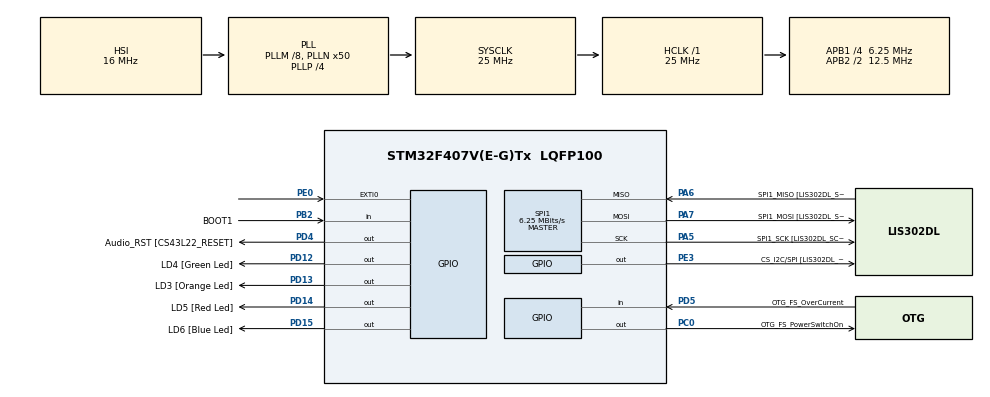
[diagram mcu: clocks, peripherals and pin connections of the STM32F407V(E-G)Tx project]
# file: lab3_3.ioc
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Mcu.Family=STM32F4
Mcu.Name=STM32F407V(E-G)Tx
Mcu.Package=LQFP100
NVIC.EXTI0_IRQn=true\:6\:0\:true\:false\:true\:true\:true
NVIC.PriorityGroup=NVIC_PRIORITYGROUP_4
NVIC.TIM7_IRQn=true\:0\:0\:false\:false\:true\:false\:true
NVIC.TimeBase=TIM7_IRQn
NVIC.TimeBaseIP=TIM7
PA10.GPIO_Label=OTG_FS_ID
PA10.GPIO_Mode=GPIO_MODE_AF_PP
PA10.GPIO_PuPd=GPIO_NOPULL
PA10.GPIO_Speed=GPIO_SPEED_FREQ_LOW
PA10.Signal=USB_OTG_FS_ID
PA11.GPIO_Label=OTG_FS_DM
PA11.GPIO_Mode=GPIO_MODE_AF_PP
PA11.GPIO_PuPd=GPIO_NOPULL
PA11.GPIO_Speed=GPIO_SPEED_FREQ_LOW
PA11.Signal=USB_OTG_FS_DM
PA12.GPIO_Label=OTG_FS_DP
PA12.GPIO_Mode=GPIO_MODE_AF_PP
PA12.GPIO_PuPd=GPIO_NOPULL
PA12.GPIO_Speed=GPIO_SPEED_FREQ_LOW
PA12.Signal=USB_OTG_FS_DP
PA13.GPIO_Label=SWDIO
PA13.Mode=Serial_Wire
PA13.Signal=SYS_JTMS-SWDIO
PA14.GPIO_Label=SWCLK
PA14.Mode=Serial_Wire
PA14.Signal=SYS_JTCK-SWCLK
PA4.GPIO_Label=I2S3_WS [CS43L22_LRCK]
PA4.GPIO_Mode=GPIO_MODE_AF_PP
PA4.GPIO_PuPd=GPIO_NOPULL
PA4.GPIO_Speed=GPIO_SPEED_FREQ_LOW
PA4.Signal=I2S3_WS
PA5.GPIO_Label=SPI1_SCK [LIS302DL_SCL/SPC]
PA5.GPIO_Mode=GPIO_MODE_AF_PP
PA5.GPIO_PuPd=GPIO_NOPULL
PA5.GPIO_Speed=GPIO_SPEED_FREQ_LOW
PA5.Mode=Full_Duplex_Master
PA5.Signal=SPI1_SCK
PA6.GPIO_Label=SPI1_MISO [LIS302DL_SDO]
PA6.GPIO_Mode=GPIO_MODE_AF_PP
PA6.GPIO_PuPd=GPIO_NOPULL
PA6.GPIO_Speed=GPIO_SPEED_FREQ_LOW
PA6.Mode=Full_Duplex_Master
PA6.Signal=SPI1_MISO
PA7.GPIO_Label=SPI1_MOSI [LIS302DL_SDA/SDI/SDO]
PA7.GPIO_Mode=GPIO_MODE_AF_PP
PA7.GPIO_PuPd=GPIO_NOPULL
PA7.GPIO_Speed=GPIO_SPEED_FREQ_LOW
PA7.Mode=Full_Duplex_Master
PA7.Signal=SPI1_MOSI
PA9.GPIO_Label=VBUS_FS
PA9.GPIO_Mode=GPIO_MODE_INPUT
PA9.GPIO_PuPd=GPIO_NOPULL
PA9.Signal=USB_OTG_FS_VBUS
PB10.GPIO_Label=CLK_IN [MP45DT02_CLK]
PB10.GPIO_Mode=GPIO_MODE_AF_PP
PB10.GPIO_PuPd=GPIO_NOPULL
PB10.GPIO_Speed=GPIO_SPEED_FREQ_LOW
PB10.Signal=I2S2_CK
PB2.GPIO_Label=BOOT1
PB2.GPIO_Mode=GPIO_MODE_INPUT
PB2.GPIO_PuPd=GPIO_NOPULL
PB2.Signal=GPIO_Input
PB3.GPIO_Label=SWO
PB3.Signal=SYS_JTDO-SWO
PB6.GPIO_Label=Audio_SCL [CS43L22_SCL]
PB6.GPIO_Mode=GPIO_MODE_AF_OD
PB6.GPIO_PuPd=GPIO_NOPULL
PB6.GPIO_Speed=GPIO_SPEED_FREQ_LOW
PB6.Signal=I2C1_SCL
PB9.GPIO_Label=Audio_SDA [CS43L22_SDA]
PB9.GPIO_Mode=GPIO_MODE_AF_OD
PB9.GPIO_PuPd=GPIO_NOPULL
PB9.GPIO_Speed=GPIO_SPEED_FREQ_LOW
PB9.Signal=I2C1_SDA
PC0.GPIO_Label=OTG_FS_PowerSwitchOn
PC0.GPIO_PuPd=GPIO_NOPULL
PC0.GPIO_Speed=GPIO_SPEED_FREQ_LOW
PC0.PinState=GPIO_PIN_SET
PC0.Signal=GPIO_Output
PC10.GPIO_Label=I2S3_SCK [CS43L22_SCLK]
PC10.GPIO_Mode=GPIO_MODE_AF_PP
PC10.GPIO_PuPd=GPIO_NOPULL
PC10.GPIO_Speed=GPIO_SPEED_FREQ_LOW
PC10.Signal=I2S3_CK
PC12.GPIO_Label=I2S3_SD [CS43L22_SDIN]
PC12.GPIO_Mode=GPIO_MODE_AF_PP
PC12.GPIO_PuPd=GPIO_NOPULL
PC12.GPIO_Speed=GPIO_SPEED_FREQ_LOW
PC12.Signal=I2S3_SD
PC14-OSC32_IN.GPIO_Label=PC14-OSC32_IN
PC14-OSC32_IN.Signal=RCC_OSC32_IN
PC15-OSC32_OUT.GPIO_Label=PC15-OSC32_OUT
PC15-OSC32_OUT.Signal=RCC_OSC32_OUT
PC3.GPIO_Label=PDM_OUT [MP45DT02_DOUT]
PC3.GPIO_Mode=GPIO_MODE_AF_PP
PC3.GPIO_PuPd=GPIO_NOPULL
PC3.GPIO_Speed=GPIO_SPEED_FREQ_LOW
PC3.Signal=I2S2_SD
PC7.GPIO_Label=I2S3_MCK [CS43L22_MCLK]
PC7.GPIO_Mode=GPIO_MODE_AF_PP
PC7.GPIO_PuPd=GPIO_NOPULL
PC7.GPIO_Speed=GPIO_SPEED_FREQ_LOW
PC7.Signal=I2S3_MCK
PD12.GPIO_Label=LD4 [Green Led]
PD12.GPIO_PuPd=GPIO_NOPULL
PD12.GPIO_Speed=GPIO_SPEED_FREQ_LOW
PD12.Signal=GPIO_Output
PD13.GPIO_Label=LD3 [Orange Led]
PD13.GPIO_PuPd=GPIO_NOPULL
PD13.GPIO_Speed=GPIO_SPEED_FREQ_LOW
PD13.Signal=GPIO_Output
PD14.GPIO_Label=LD5 [Red Led]
PD14.GPIO_PuPd=GPIO_NOPULL
PD14.GPIO_Speed=GPIO_SPEED_FREQ_LOW
PD14.Signal=GPIO_Output
PD15.GPIO_Label=LD6 [Blue Led]
PD15.GPIO_PuPd=GPIO_NOPULL
PD15.GPIO_Speed=GPIO_SPEED_FREQ_LOW
PD15.Signal=GPIO_Output
PD4.GPIO_Label=Audio_RST [CS43L22_RESET]
PD4.GPIO_PuPd=GPIO_NOPULL
PD4.GPIO_Speed=GPIO_SPEED_FREQ_LOW
PD4.Signal=GPIO_Output
PD5.GPIO_Label=OTG_FS_OverCurrent
PD5.GPIO_Mode=GPIO_MODE_INPUT
PD5.GPIO_PuPd=GPIO_NOPULL
PD5.Signal=GPIO_Input
PE0.Signal=GPXTI0
PE3.GPIO_Label=CS_I2C/SPI [LIS302DL_CS_I2C/SPI]
PE3.GPIO_PuPd=GPIO_NOPULL
PE3.GPIO_Speed=GPIO_SPEED_FREQ_LOW
PE3.Signal=GPIO_Output
PH0-OSC_IN.GPIO_Label=PH0-OSC_IN
PH0-OSC_IN.Signal=RCC_OSC_IN
PH1-OSC_OUT.GPIO_Label=PH1-OSC_OUT
PH1-OSC_OUT.Signal=RCC_OSC_OUT
ProjectManager.HeapSize=0x200
ProjectManager.StackSize=0x400
ProjectManager.TargetToolchain=STM32CubeIDE
RCC.48MHZClocksFreq_Value=14285714.285714285
RCC.AHBFreq_Value=25000000
RCC.APB1CLKDivider=RCC_HCLK_DIV4
RCC.APB1Freq_Value=6250000
RCC.APB1TimFreq_Value=12500000
RCC.APB2CLKDivider=RCC_HCLK_DIV2
RCC.APB2Freq_Value=12500000
RCC.APB2TimFreq_Value=25000000
RCC.CortexFreq_Value=25000000
RCC.HCLKFreq_Value=25000000
RCC.HSE_VALUE=8000000
RCC.HSI_VALUE=16000000
RCC.LSE_VALUE=32768
RCC.PLLM=8
RCC.PLLN=50
RCC.PLLP=RCC_PLLP_DIV4
RCC.PLLQ=7
RCC.SYSCLKFreq_VALUE=25000000
RCC.SYSCLKSource=RCC_SYSCLKSOURCE_PLLCLK
RCC.VCOOutputFreq_Value=100000000
SPI1.CalculateBaudRate=6.25 MBits/s
SPI1.Direction=SPI_DIRECTION_2LINES
SPI1.Mode=SPI_MODE_MASTER
SPI1.VirtualType=VM_MASTER
VP_SYS_VS_tim7.Mode=TIM7
board=STM32F407G-DISC1

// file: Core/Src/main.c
/* USER CODE BEGIN Header */
/**
  ******************************************************************************
  * @file           : main.c
  * @brief          : Main program body
  ******************************************************************************
  * @attention
  *
  * <h2><center>&copy; Copyright (c) 2021 STMicroelectronics.
  * All rights reserved.</center></h2>
  *
  * This software component is licensed by ST under BSD 3-Clause license,
  * the "License"; You may not use this file except in compliance with the
  * License. You may obtain a copy of the License at:
  *                        opensource.org/licenses/BSD-3-Clause
  *
  ******************************************************************************
  */
/* USER CODE END Header */
#include "main.h"

/* USER CODE BEGIN Includes */
#include "FreeRTOS.h" // define some lib that we may use
#include "task.h"    // define some lib that we may use
#include "semphr.h"  // about the semaphore that define in the FreeRTOS
/* USER CODE END Includes */

/* USER CODE BEGIN PM */
# define Green_LED_High HAL_GPIO_WritePin(GPIOD,GPIO_PIN_12,GPIO_PIN_SET)
# define Green_LED_Low HAL_GPIO_WritePin(GPIOD,GPIO_PIN_12,GPIO_PIN_RESET)
# define Oran_LED_High HAL_GPIO_WritePin(GPIOD,GPIO_PIN_13,GPIO_PIN_SET)
# define Oran_LED_Low HAL_GPIO_WritePin(GPIOD,GPIO_PIN_13,GPIO_PIN_RESET)
# define Red_LED_High HAL_GPIO_WritePin(GPIOD,GPIO_PIN_14,GPIO_PIN_SET)
# define Red_LED_Low HAL_GPIO_WritePin(GPIOD,GPIO_PIN_14,GPIO_PIN_RESET)
# define Red_toggle HAL_GPIO_TogglePin(GPIOD,GPIO_PIN_14)
# define Oran_toggle HAL_GPIO_TogglePin(GPIOD,GPIO_PIN_13)
# define LONG_TIME 0xFFFF

/* USER CODE END PM */

SPI_HandleTypeDef hspi1;

/* USER CODE BEGIN PV */
SemaphoreHandle_t xSemaphore;
TaskHandle_t Task_1_Handle;
uint8_t data;
/* USER CODE END PV */

void SystemClock_Config(void);
static void MX_GPIO_Init(void);
static void MX_SPI1_Init(void);

/* USER CODE BEGIN 0 */
void MEMS_Write(uint8_t address,uint8_t data)
{
	HAL_GPIO_WritePin(GPIOE, GPIO_PIN_3, GPIO_PIN_RESET);
	HAL_SPI_Transmit(&hspi1,&address,1,10);
	HAL_SPI_Transmit(&hspi1,&data,1,10);
	HAL_GPIO_WritePin(GPIOE, GPIO_PIN_3,GPIO_PIN_SET);
}

void Reset_Interupt()
{
	MEMS_Write(0x20,0x0f);
	MEMS_Write(0x22,0x80);
	MEMS_Write(0x23,0x00);

	MEMS_Write(0x32,0x2C);
	MEMS_Write(0x33,0xA4);

	MEMS_Write(0x34,0x2C);
	MEMS_Write(0x35,0xA4);

	MEMS_Write(0x36,0x2C);
	MEMS_Write(0x37,0xA4);

	MEMS_Write(0x38,0x01);

	MEMS_Write(0x30,0x20);
}

void Task1( void *pvParameters )
{
    for(;;)
    {
    	/* Green LED blinking */
    	Green_LED_High;   // Green LED ON
    	vTaskDelay(500);
    	Green_LED_Low;   // Green LED OFF
    	vTaskDelay(500);
    }
}

void Task2_handle(void *pvParameters)
{
    for(;;)
    {
    	/* if take the Semaphore*/
        if(xSemaphoreTake(xSemaphore,LONG_TIME)==pdTRUE)
        {
        	MEMS_Write(0x30,0x00);
            /* Orange LED blinking 5 times */
            for (int i = 0; i < 10;i++)
            {
            	Oran_toggle;
            	/* wait 250 ms */
            	uint32_t From_begin_time = xTaskGetTickCount();//must use the function
            	while (xTaskGetTickCount()-From_begin_time< 250/portTICK_PERIOD_MS)
            	{
            		;
            	}
    	    }
            Reset_Interupt();
        }
    }
}

/* USER CODE END 0 */

int main(void)
{

  /* MCU Configuration--------------------------------------------------------*/

  /* Reset of all peripherals, Initializes the Flash interface and the Systick. */
  HAL_Init();

  /* Configure the system clock */
  SystemClock_Config();

  /* Initialize all configured peripherals */
  MX_GPIO_Init();
  MX_SPI1_Init();
  /* USER CODE BEGIN 2 */
  Reset_Interupt();
  xSemaphore = xSemaphoreCreateBinary();
  xTaskCreate(Task2_handle, "Task2_handle", 3000, NULL, 6, NULL); //the number higher the priority higher
  xTaskCreate(Task1, "Task1", 3000, NULL, 2,  Task_1_Handle);

  vTaskStartScheduler();
  /* USER CODE END 2 */

  /* Infinite loop */
  while (1)
  {

  }
}

void SystemClock_Config(void)
{
  RCC_OscInitTypeDef RCC_OscInitStruct = {0};
  RCC_ClkInitTypeDef RCC_ClkInitStruct = {0};

  /** Configure the main internal regulator output voltage
  */
  __HAL_RCC_PWR_CLK_ENABLE();
  __HAL_PWR_VOLTAGESCALING_CONFIG(PWR_REGULATOR_VOLTAGE_SCALE1);
  /** Initializes the RCC Oscillators according to the specified parameters
  * in the RCC_OscInitTypeDef structure.
  */
  RCC_OscInitStruct.OscillatorType = RCC_OSCILLATORTYPE_HSI;
  RCC_OscInitStruct.HSIState = RCC_HSI_ON;
  RCC_OscInitStruct.HSICalibrationValue = RCC_HSICALIBRATION_DEFAULT;
  RCC_OscInitStruct.PLL.PLLState = RCC_PLL_ON;
  RCC_OscInitStruct.PLL.PLLSource = RCC_PLLSOURCE_HSI;
  RCC_OscInitStruct.PLL.PLLM = 8;
  RCC_OscInitStruct.PLL.PLLN = 50;
  RCC_OscInitStruct.PLL.PLLP = RCC_PLLP_DIV4;
  RCC_OscInitStruct.PLL.PLLQ = 7;
  if (HAL_RCC_OscConfig(&RCC_OscInitStruct) != HAL_OK)
  {
    Error_Handler();
  }
  /** Initializes the CPU, AHB and APB buses clocks
  */
  RCC_ClkInitStruct.ClockType = RCC_CLOCKTYPE_HCLK|RCC_CLOCKTYPE_SYSCLK
                              |RCC_CLOCKTYPE_PCLK1|RCC_CLOCKTYPE_PCLK2;
  RCC_ClkInitStruct.SYSCLKSource = RCC_SYSCLKSOURCE_PLLCLK;
  RCC_ClkInitStruct.AHBCLKDivider = RCC_SYSCLK_DIV1;
  RCC_ClkInitStruct.APB1CLKDivider = RCC_HCLK_DIV4;
  RCC_ClkInitStruct.APB2CLKDivider = RCC_HCLK_DIV2;

  if (HAL_RCC_ClockConfig(&RCC_ClkInitStruct, FLASH_LATENCY_0) != HAL_OK)
  {
    Error_Handler();
  }
}

static void MX_SPI1_Init(void)
{

  /* SPI1 parameter configuration*/
  hspi1.Instance = SPI1;
  hspi1.Init.Mode = SPI_MODE_MASTER;
  hspi1.Init.Direction = SPI_DIRECTION_2LINES;
  hspi1.Init.DataSize = SPI_DATASIZE_8BIT;
  hspi1.Init.CLKPolarity = SPI_POLARITY_LOW;
  hspi1.Init.CLKPhase = SPI_PHASE_1EDGE;
  hspi1.Init.NSS = SPI_NSS_SOFT;
  hspi1.Init.BaudRatePrescaler = SPI_BAUDRATEPRESCALER_2;
  hspi1.Init.FirstBit = SPI_FIRSTBIT_MSB;
  hspi1.Init.TIMode = SPI_TIMODE_DISABLE;
  hspi1.Init.CRCCalculation = SPI_CRCCALCULATION_DISABLE;
  hspi1.Init.CRCPolynomial = 10;
  if (HAL_SPI_Init(&hspi1) != HAL_OK)
  {
    Error_Handler();
  }

}

static void MX_GPIO_Init(void)
{
  GPIO_InitTypeDef GPIO_InitStruct = {0};

  /* GPIO Ports Clock Enable */
  __HAL_RCC_GPIOE_CLK_ENABLE();
  __HAL_RCC_GPIOC_CLK_ENABLE();
  __HAL_RCC_GPIOH_CLK_ENABLE();
  __HAL_RCC_GPIOA_CLK_ENABLE();
  __HAL_RCC_GPIOB_CLK_ENABLE();
  __HAL_RCC_GPIOD_CLK_ENABLE();

  /*Configure GPIO pin Output Level */
  HAL_GPIO_WritePin(CS_I2C_SPI_GPIO_Port, CS_I2C_SPI_Pin, GPIO_PIN_RESET);

  /*Configure GPIO pin Output Level */
  HAL_GPIO_WritePin(OTG_FS_PowerSwitchOn_GPIO_Port, OTG_FS_PowerSwitchOn_Pin, GPIO_PIN_SET);

  /*Configure GPIO pin Output Level */
  HAL_GPIO_WritePin(GPIOD, LD4_Pin|LD3_Pin|LD5_Pin|LD6_Pin
                          |Audio_RST_Pin, GPIO_PIN_RESET);

  /*Configure GPIO pin : CS_I2C_SPI_Pin */
  GPIO_InitStruct.Pin = CS_I2C_SPI_Pin;
  GPIO_InitStruct.Mode = GPIO_MODE_OUTPUT_PP;
  GPIO_InitStruct.Pull = GPIO_NOPULL;
  GPIO_InitStruct.Speed = GPIO_SPEED_FREQ_LOW;
  HAL_GPIO_Init(CS_I2C_SPI_GPIO_Port, &GPIO_InitStruct);

  /*Configure GPIO pin : OTG_FS_PowerSwitchOn_Pin */
  GPIO_InitStruct.Pin = OTG_FS_PowerSwitchOn_Pin;
  GPIO_InitStruct.Mode = GPIO_MODE_OUTPUT_PP;
  GPIO_InitStruct.Pull = GPIO_NOPULL;
  GPIO_InitStruct.Speed = GPIO_SPEED_FREQ_LOW;
  HAL_GPIO_Init(OTG_FS_PowerSwitchOn_GPIO_Port, &GPIO_InitStruct);

  /*Configure GPIO pin : PDM_OUT_Pin */
  GPIO_InitStruct.Pin = PDM_OUT_Pin;
  GPIO_InitStruct.Mode = GPIO_MODE_AF_PP;
  GPIO_InitStruct.Pull = GPIO_NOPULL;
  GPIO_InitStruct.Speed = GPIO_SPEED_FREQ_LOW;
  GPIO_InitStruct.Alternate = GPIO_AF5_SPI2;
  HAL_GPIO_Init(PDM_OUT_GPIO_Port, &GPIO_InitStruct);

  /*Configure GPIO pin : I2S3_WS_Pin */
  GPIO_InitStruct.Pin = I2S3_WS_Pin;
  GPIO_InitStruct.Mode = GPIO_MODE_AF_PP;
  GPIO_InitStruct.Pull = GPIO_NOPULL;
  GPIO_InitStruct.Speed = GPIO_SPEED_FREQ_LOW;
  GPIO_InitStruct.Alternate = GPIO_AF6_SPI3;
  HAL_GPIO_Init(I2S3_WS_GPIO_Port, &GPIO_InitStruct);

  /*Configure GPIO pin : BOOT1_Pin */
  GPIO_InitStruct.Pin = BOOT1_Pin;
  GPIO_InitStruct.Mode = GPIO_MODE_INPUT;
  GPIO_InitStruct.Pull = GPIO_NOPULL;
  HAL_GPIO_Init(BOOT1_GPIO_Port, &GPIO_InitStruct);

  /*Configure GPIO pin : CLK_IN_Pin */
  GPIO_InitStruct.Pin = CLK_IN_Pin;
  GPIO_InitStruct.Mode = GPIO_MODE_AF_PP;
  GPIO_InitStruct.Pull = GPIO_NOPULL;
  GPIO_InitStruct.Speed = GPIO_SPEED_FREQ_LOW;
  GPIO_InitStruct.Alternate = GPIO_AF5_SPI2;
  HAL_GPIO_Init(CLK_IN_GPIO_Port, &GPIO_InitStruct);

  /*Configure GPIO pins : LD4_Pin LD3_Pin LD5_Pin LD6_Pin
                           Audio_RST_Pin */
  GPIO_InitStruct.Pin = LD4_Pin|LD3_Pin|LD5_Pin|LD6_Pin
                          |Audio_RST_Pin;
  GPIO_InitStruct.Mode = GPIO_MODE_OUTPUT_PP;
  GPIO_InitStruct.Pull = GPIO_NOPULL;
  GPIO_InitStruct.Speed = GPIO_SPEED_FREQ_LOW;
  HAL_GPIO_Init(GPIOD, &GPIO_InitStruct);

  /*Configure GPIO pins : I2S3_MCK_Pin I2S3_SCK_Pin I2S3_SD_Pin */
  GPIO_InitStruct.Pin = I2S3_MCK_Pin|I2S3_SCK_Pin|I2S3_SD_Pin;
  GPIO_InitStruct.Mode = GPIO_MODE_AF_PP;
  GPIO_InitStruct.Pull = GPIO_NOPULL;
  GPIO_InitStruct.Speed = GPIO_SPEED_FREQ_LOW;
  GPIO_InitStruct.Alternate = GPIO_AF6_SPI3;
  HAL_GPIO_Init(GPIOC, &GPIO_InitStruct);

  /*Configure GPIO pin : VBUS_FS_Pin */
  GPIO_InitStruct.Pin = VBUS_FS_Pin;
  GPIO_InitStruct.Mode = GPIO_MODE_INPUT;
  GPIO_InitStruct.Pull = GPIO_NOPULL;
  HAL_GPIO_Init(VBUS_FS_GPIO_Port, &GPIO_InitStruct);

  /*Configure GPIO pins : OTG_FS_ID_Pin OTG_FS_DM_Pin OTG_FS_DP_Pin */
  GPIO_InitStruct.Pin = OTG_FS_ID_Pin|OTG_FS_DM_Pin|OTG_FS_DP_Pin;
  GPIO_InitStruct.Mode = GPIO_MODE_AF_PP;
  GPIO_InitStruct.Pull = GPIO_NOPULL;
  GPIO_InitStruct.Speed = GPIO_SPEED_FREQ_LOW;
  GPIO_InitStruct.Alternate = GPIO_AF10_OTG_FS;
  HAL_GPIO_Init(GPIOA, &GPIO_InitStruct);

  /*Configure GPIO pin : OTG_FS_OverCurrent_Pin */
  GPIO_InitStruct.Pin = OTG_FS_OverCurrent_Pin;
  GPIO_InitStruct.Mode = GPIO_MODE_INPUT;
  GPIO_InitStruct.Pull = GPIO_NOPULL;
  HAL_GPIO_Init(OTG_FS_OverCurrent_GPIO_Port, &GPIO_InitStruct);

  /*Configure GPIO pins : Audio_SCL_Pin Audio_SDA_Pin */
  GPIO_InitStruct.Pin = Audio_SCL_Pin|Audio_SDA_Pin;
  GPIO_InitStruct.Mode = GPIO_MODE_AF_OD;
  GPIO_InitStruct.Pull = GPIO_NOPULL;
  GPIO_InitStruct.Speed = GPIO_SPEED_FREQ_LOW;
  GPIO_InitStruct.Alternate = GPIO_AF4_I2C1;
  HAL_GPIO_Init(GPIOB, &GPIO_InitStruct);

  /*Configure GPIO pin : PE0 */
  GPIO_InitStruct.Pin = GPIO_PIN_0;
  GPIO_InitStruct.Mode = GPIO_MODE_IT_RISING;
  GPIO_InitStruct.Pull = GPIO_NOPULL;
  HAL_GPIO_Init(GPIOE, &GPIO_InitStruct);

  /* EXTI interrupt init*/
  HAL_NVIC_SetPriority(EXTI0_IRQn, 6, 0);
  HAL_NVIC_EnableIRQ(EXTI0_IRQn);

}

/* USER CODE BEGIN 4 */
void HAL_GPIO_EXTI_Callback(uint16_t GPIO_PIN)
{
	/* switch Red LED state */
	Red_toggle;
	/* semaphore give */
	BaseType_t xHigherPriorityTaskWoken;
	xHigherPriorityTaskWoken = pdFALSE;
	xSemaphoreGiveFromISR( xSemaphore, &xHigherPriorityTaskWoken);
	portYIELD_FROM_ISR( xHigherPriorityTaskWoken );
}
/* USER CODE END 4 */

void HAL_TIM_PeriodElapsedCallback(TIM_HandleTypeDef *htim)
{
  if (htim->Instance == TIM7) {
    HAL_IncTick();
  }
}

void Error_Handler(void)
{
  __disable_irq();
  while (1)
  {
  }
}
